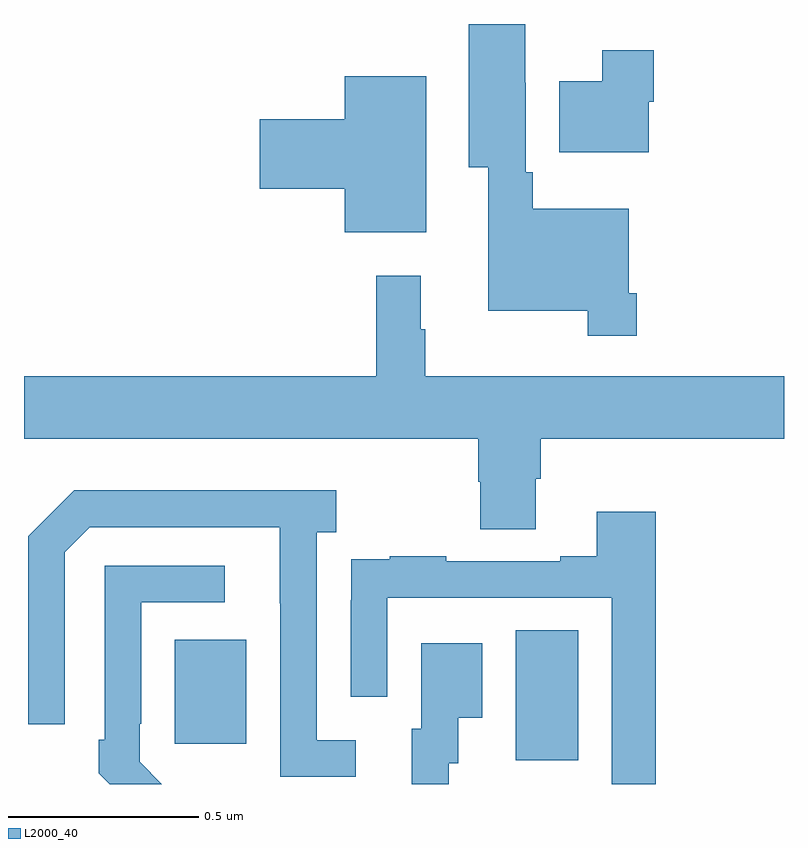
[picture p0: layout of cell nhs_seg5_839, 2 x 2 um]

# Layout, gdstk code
import gdstk
lib = gdstk.Library(unit=1e-6, precision=1e-09)
def R(c, l, rs):  # rectangles x0, y0, x1, y1
    for r in rs: c.add(gdstk.rectangle(r[:2], r[2:], *l))
def P(c, l, *ps):  # polygons
    for p in ps: c.add(gdstk.Polygon(p, *l))
L2000_40 = (2000, 40)

nhs_seg5_839 = lib.new_cell('nhs_seg5_839')
R(nhs_seg5_839, L2000_40, [(122.294,907.861,122.458,908.204), (121.397,907.905,121.585,908.179)])
P(nhs_seg5_839, L2000_40, [(122.612,909.091),(122.592,909.091),(122.592,909.313),(122.339,909.313),(122.339,909.409),(122.32,909.409),(122.32,909.645),(122.319,909.645),(122.319,909.799),(122.171,909.799),(122.171,909.422),(122.222,909.422),(122.222,909.044),(122.484,909.044),(122.484,908.979),(122.612,908.979)],
  [(122.644,909.594),(122.657,909.594),(122.657,909.73),(122.522,909.73),(122.522,909.649),(122.408,909.649),(122.408,909.461),(122.644,909.461)],
  [(122.059,909.661),(121.844,909.661),(121.844,909.548),(121.62,909.548),(121.62,909.365),(121.844,909.365),(121.844,909.251),(122.059,909.251)],
  [(122.347,908.602),(122.36,908.602),(122.36,908.708),(123,908.708),(123,908.872),(122.056,908.872),(122.056,908.996),(122.044,908.996),(122.044,909.136),(121.927,909.136),(121.927,908.872),(121,908.872),(121,908.708),(122.195,908.708),(122.195,908.595),(122.2,908.595),(122.2,908.47),(122.347,908.47)],
  [(121.873,907.914),(121.77,907.914),(121.77,908.462),(121.822,908.462),(121.822,908.572),(121.132,908.572),(121.011,908.451),(121.011,907.956),(121.107,907.956),(121.107,908.409),(121.173,908.475),(121.673,908.475),(121.673,908.275),(121.674,908.275),(121.674,907.818),(121.873,907.818)],
  [(122.663,908.515),(122.507,908.515),(122.507,908.398),(122.411,908.398),(122.411,908.385),(122.111,908.385),(122.111,908.398),(121.963,908.398),(121.963,908.391),(121.861,908.391),(121.861,908.282),(121.86,908.282),(121.86,908.028),(121.956,908.028),(121.956,908.289),(122.547,908.289),(122.547,907.799),(122.663,907.799)],
  [(121.305,907.857),(121.305,907.957),(121.308,907.957),(121.308,908.277),(121.528,908.277),(121.528,908.373),(121.212,908.373),(121.212,907.915),(121.197,907.915),(121.197,907.827),(121.225,907.799),(121.363,907.799)],
  [(122.118,907.854),(122.143,907.854),(122.143,907.973),(122.206,907.973),(122.206,908.17),(122.045,908.17),(122.045,907.944),(122.021,907.944),(122.021,907.799),(122.118,907.799)])

lib.write_gds('nhs_seg5_839.gds')
